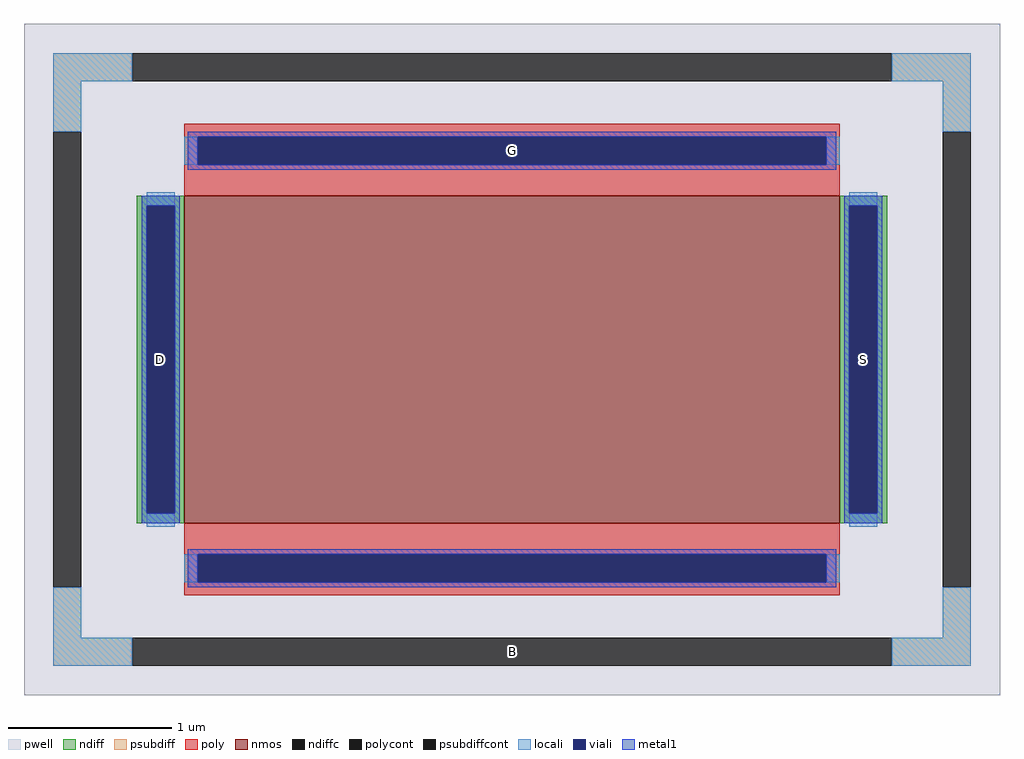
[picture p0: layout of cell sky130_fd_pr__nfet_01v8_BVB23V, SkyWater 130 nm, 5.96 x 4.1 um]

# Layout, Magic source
magic
tech sky130A
magscale 1 2
<< pwell >>
rect -596 -410 596 410
<< nmos >>
rect -400 -200 400 200
<< ndiff >>
rect -458 188 -400 200
rect -458 -188 -446 188
rect -412 -188 -400 188
rect -458 -200 -400 -188
rect 400 188 458 200
rect 400 -188 412 188
rect 446 -188 458 188
rect 400 -200 458 -188
<< ndiffc >>
rect -446 -188 -412 188
rect 412 -188 446 188
<< psubdiff >>
rect -560 340 -464 374
rect 464 340 560 374
rect -560 278 -526 340
rect 526 278 560 340
rect -560 -340 -526 -278
rect 526 -340 560 -278
rect -560 -374 -464 -340
rect 464 -374 560 -340
<< psubdiffcont >>
rect -464 340 464 374
rect -560 -278 -526 278
rect 526 -278 560 278
rect -464 -374 464 -340
<< poly >>
rect -400 272 400 288
rect -400 238 -384 272
rect 384 238 400 272
rect -400 200 400 238
rect -400 -238 400 -200
rect -400 -272 -384 -238
rect 384 -272 400 -238
rect -400 -288 400 -272
<< polycont >>
rect -384 238 384 272
rect -384 -272 384 -238
<< locali >>
rect -560 340 -464 374
rect 464 340 560 374
rect -560 278 -526 340
rect 526 278 560 340
rect -400 238 -384 272
rect 384 238 400 272
rect -446 188 -412 204
rect -446 -204 -412 -188
rect 412 188 446 204
rect 412 -204 446 -188
rect -400 -272 -384 -238
rect 384 -272 400 -238
rect -560 -340 -526 -278
rect 526 -340 560 -278
rect -560 -374 -464 -340
rect 464 -374 560 -340
<< viali >>
rect -384 238 384 272
rect -446 -188 -412 188
rect 412 -188 446 188
rect -384 -272 384 -238
<< metal1 >>
rect -396 272 396 278
rect -396 238 -384 272
rect 384 238 396 272
rect -396 232 396 238
rect -452 188 -406 200
rect -452 -188 -446 188
rect -412 -188 -406 188
rect -452 -200 -406 -188
rect 406 188 452 200
rect 406 -188 412 188
rect 446 -188 452 188
rect 406 -200 452 -188
rect -396 -238 396 -232
rect -396 -272 -384 -238
rect 384 -272 396 -238
rect -396 -278 396 -272
<< labels >>
rlabel psubdiffcont 0 -357 0 -357 0 B
port 1 nsew
rlabel ndiffc -429 0 -429 0 0 D
port 2 nsew
rlabel ndiffc 429 0 429 0 0 S
port 3 nsew
rlabel polycont 0 255 0 255 0 G
port 4 nsew
<< properties >>
string FIXED_BBOX -543 -357 543 357
string gencell sky130_fd_pr__nfet_01v8
string library sky130
string parameters w 2.0 l 4.0 m 1 nf 1 diffcov 100 polycov 100 guard 1 glc 1 grc 1 gtc 1 gbc 1 tbcov 100 rlcov 100 topc 1 botc 1 poverlap 0 doverlap 1 lmin 0.15 wmin 0.42 class mosfet compatible {sky130_fd_pr__nfet_01v8 sky130_fd_pr__nfet_01v8_lvt  sky130_fd_bs_flash__special_sonosfet_star  sky130_fd_pr__nfet_g5v0d10v5 sky130_fd_pr__nfet_05v0_nvt  sky130_fd_pr__nfet_03v3_nvt} full_metal 1 conn_gates 0 viasrc 100 viadrn 100 viagate 100 viagb 0 viagr 0 viagl 0 viagt 0 doports 1
<< end >>
